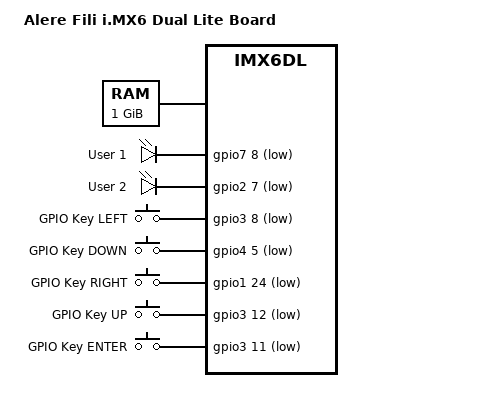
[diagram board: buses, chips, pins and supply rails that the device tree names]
/*
 * Copyright 2014 Alere International Ltd
 *
 * Author: Rob Voisey <rob.voisey@alere.com>
 *
 * This program is free software; you can redistribute it and/or modify
 * it under the terms of the GNU General Public License version 2 as
 * published by the Free Software Foundation.
 *
 */
/dts-v1/;
#include "imx6dl.dtsi"
#include "imx6qdl-fili.dtsi"

/ {
	model = "Alere Fili i.MX6 Dual Lite Board";
	compatible = "alere,fili_dl", "fsl,imx6dl";

	memory {
		reg = <0x10000000 0x40000000>;
	};

    display@di0 {
        compatible = "fsl,imx-parallel-display";
        status = "okay";
        crtcs = <&ipu1 0>;
        interface-pix-fmt = "rgb24";
        pinctrl-names = "default";
        pinctrl-0 = <&pinctrl_ipu1_1>;
        display-timings {
            native-mode = <&timing0>;
            timing0: lcd43 {
                clock-frequency = <9200000>;
                hactive = <480>;
                vactive = <272>;
                hback-porch = <2>;
                hfront-porch = <2>;
                vback-porch = <2>;
                vfront-porch = <2>;
                hsync-len = <41>;
                vsync-len = <10>;
                hsync-active = <0>;
                vsync-active = <0>;
                de-active = <1>;
                pixelclk-active = <0>;
            };
        };
    };

    leds {
        compatible = "gpio-leds";

        user@1 {
            label = "User 1";
            gpios = <&gpio7 8 1>;
            linux,default-trigger = "heartbeat";
        };

        user@2 {
            label = "User 2";
            gpios = <&gpio2 7 1>;
            linux,default-trigger = "cpu0";
        };
    };

    buttons {
        compatible = "gpio-keys";
        autorepeat;

        button@1 {
            label = "GPIO Key LEFT";
            linux,code = <105>;
            gpios = <&gpio3 8 1>;
        };

        button@2 {
            label = "GPIO Key DOWN";
            linux,code = <108>;
            gpios = <&gpio4 5 1>;
        };

        button@3 {
            label = "GPIO Key RIGHT";
            linux,code = <106>;
            gpios = <&gpio1 24 1>;
        };

        button@4 {
            label = "GPIO Key UP";
            linux,code = <103>;
            gpios = <&gpio3 12 1>;
        };

        button@5 {
            label = "GPIO Key ENTER";
            linux,code = <28>;
            gpios = <&gpio3 11 1>;
        };
    };
};
